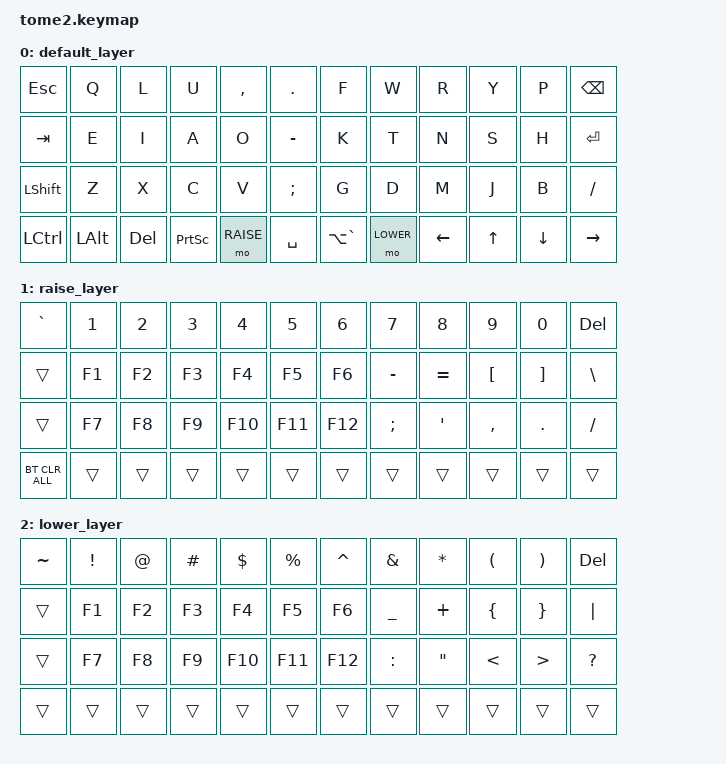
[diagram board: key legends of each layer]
#include <behaviors.dtsi>
#include <dt-bindings/zmk/keys.h>
#include <dt-bindings/zmk/bt.h>
#define DEFAULT 0
#define RAISE 1
#define LOWER 2

/ {
    keymap {
        compatible = "zmk,keymap";

        default_layer {
            bindings = <
            &kp ESC   &kp Q    &kp L   &kp U     &kp COMMA &kp DOT   &kp F         &kp W     &kp R    &kp Y  &kp P    &kp BSPC
            &kp TAB   &kp E    &kp I   &kp A     &kp O     &kp MINUS &kp K         &kp T     &kp N    &kp S  &kp H    &kp ENTER
            &kp LSHFT &kp Z    &kp X   &kp C     &kp V     &kp SEMI  &kp G         &kp D     &kp M    &kp J  &kp B    &kp SLASH
            &kp LCTRL &kp LALT &kp DEL &kp PSCRN &mo RAISE &kp SPACE &kp LA(GRAVE) &mo LOWER &kp LEFT &kp UP &kp DOWN &kp RIGHT
            >;
        };

        raise_layer {
            bindings = <
            &kp GRAVE      &kp N1  &kp N2  &kp N3  &kp N4   &kp N5  &kp N6  &kp N7    &kp N8    &kp N9    &kp N0   &kp DEL
            &trans         &kp F1  &kp F2  &kp F3  &kp F4   &kp F5  &kp F6  &kp MINUS &kp EQUAL &kp LBKT  &kp RBKT &kp BSLH
            &trans         &kp F7  &kp F8  &kp F9  &kp F10  &kp F11 &kp F12 &kp SEMI  &kp APOS  &kp COMMA &kp DOT  &kp SLASH
            &bt BT_CLR_ALL &trans  &trans  &trans  &trans   &trans  &trans  &trans    &trans    &trans    &trans   &trans
            >;
        };
            
        lower_layer {
            bindings = <
            &kp TILDE &kp EXCL &kp AT  &kp HASH &kp DLLR &kp PRCNT &kp CARET &kp AMPS  &kp ASTRK &kp LPAR &kp RPAR &kp DEL
            &trans    &kp F1   &kp F2  &kp F3   &kp F4   &kp F5    &kp F6    &kp UNDER &kp PLUS  &kp LBRC &kp RBRC &kp PIPE
            &trans    &kp F7   &kp F8  &kp F9   &kp F10  &kp F11   &kp F12   &kp COLON &kp DQT   &kp LT   &kp GT   &kp QMARK
            &trans    &trans   &trans  &trans   &trans   &trans    &trans    &trans    &trans    &trans   &trans   &trans
            >;
        };
    };
};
